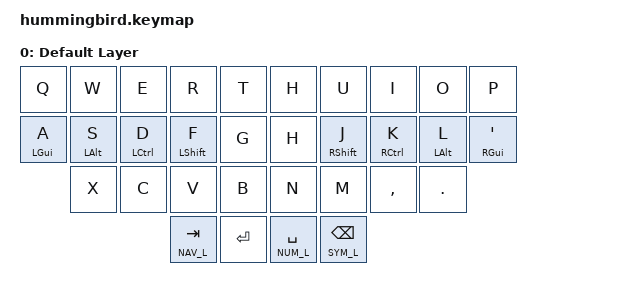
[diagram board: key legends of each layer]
/*
 * Copyright (c) 2022 The ZMK Contributors
 *
 * SPDX-License-Identifier: MIT
 */

#include <behaviors.dtsi>
#include <dt-bindings/zmk/keys.h>

#define DEF_L 0

// Using layer taps on thumbs, having quick tap as well helps w/ repeating space/backspace
&lt { quick-tap-ms = <200>; };

/ {
    behaviors {
        hm: homerow_mods {
            compatible = "zmk,behavior-hold-tap";
            #binding-cells = <2>;
            tapping-term-ms = <225>;
            flavor = "tap-preferred";
            bindings = <&kp>, <&kp>;
        };
    };


    keymap {
        compatible = "zmk,keymap";

        default_layer {
            display-name = "Default Layer";
            bindings = <
                &kp Q      &kp W      &kp E       &kp R           &kp T        &kp H            &kp U          &kp I       &kp O      &kp P
                &hm LGUI A &hm LALT S &hm LCTRL D &hm LSHFT F     &kp G        &kp H            &hm RSHFT J    &hm RCTRL K &hm LALT L &hm RGUI SQT
                           &kp X      &kp C       &kp V           &kp B        &kp N            &kp M          &kp COMMA  &kp DOT
                                                  &lt NAV_L TAB  &kp RET       &lt NUM_L SPACE  &lt SYM_L BSPC
            >;
        };

    };
};
